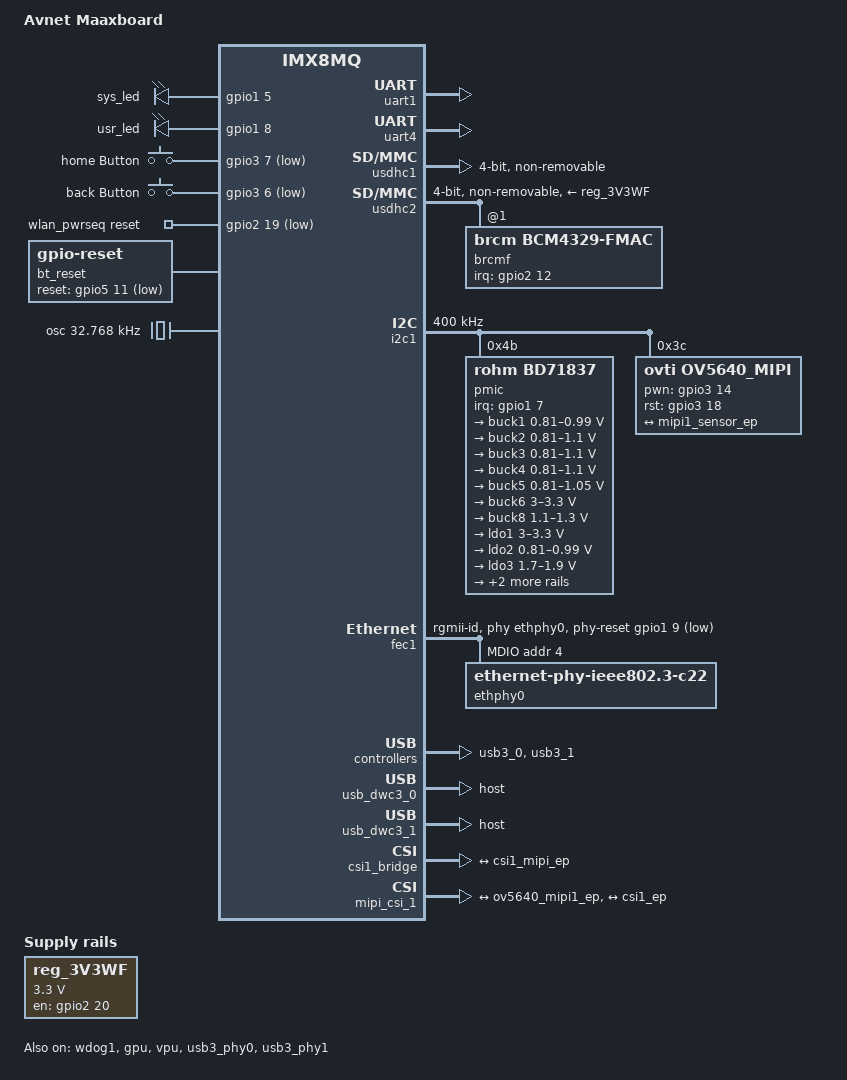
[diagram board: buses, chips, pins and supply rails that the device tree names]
/*
 * Copyright 2019 EMBEST
 *
 * This program is free software; you can redistribute it and/or
 * modify it under the terms of the GNU General Public License
 * as published by the Free Software Foundation; either version 2
 * of the License, or (at your option) any later version.
 *
 * This program is distributed in the hope that it will be useful,
 * but WITHOUT ANY WARRANTY; without even the implied warranty of
 * MERCHANTABILITY or FITNESS FOR A PARTICULAR PURPOSE.  See the
 * GNU General Public License for more details.
 */

/dts-v1/;

#include "fsl-imx8mq.dtsi"

/ {
	model = "Avnet Maaxboard";
	compatible = "avnet/embest,maaxboard", "fsl,imx8mq";

	chosen {
		bootargs = "console=ttymxc0,115200 earlycon=ec_imx6q,0x30860000,115200";
		stdout-path = &uart1;
	};

	leds {
		compatible = "gpio-leds";
		pinctrl-names = "default";
		pinctrl-0 = <&pinctrl_gpio_leds>;
		status = "okay";

		sys_led {
				label = "sys_led";
				gpios = <&gpio1 5 0>;
				default-state = "on";
				linux,default-trigger = "heartbeat";
		};

		usr_led {
				label = "usr_led";
				gpios = <&gpio1 8 0>;
				default-state = "on";
		};

	};

	gpio_keys {
			compatible = "gpio-keys";
			pinctrl-names = "default";
			pinctrl-0 = <&pinctrl_gpio_keys>;

			home {
					label = "home Button";
					gpios = <&gpio3 7 GPIO_ACTIVE_LOW>;
					linux,code = <102>;
					gpio-key,wakeup;
			};

			back {
					label = "back Button";
					gpios = <&gpio3 6 GPIO_ACTIVE_LOW>;
					linux,code = <412>;
			};
	};

    gpiomem {
			compatible = "maaxboard,maaxboard-gpiomem";
			status = "okay";
	};

	hdmi_audio: sound-hdmi {
		compatible = "fsl,imx8mq-evk-cdnhdmi",
				"fsl,imx-audio-cdnhdmi";
		model = "imx-audio-hdmi";
		audio-cpu = <&sai4>;
		protocol = <1>;
		status = "disabled";

		hdmi-out;
		constraint-rate = <44100>,
				<88200>,
				<176400>,
				<32000>,
				<48000>,
				<96000>,
				<192000>;

	};

	regulators {
		compatible = "simple-bus";
		#address-cells = <1>;
		#size-cells = <0>;

		reg_3V3WF: regulator@1 {
			compatible = "regulator-fixed";
			reg = <1>;
			pinctrl-names = "default";
			pinctrl-0 = <&pinctrl_reg3V3wf>;
			regulator-name = "WF_3V3";
			regulator-min-microvolt = <3300000>;
			regulator-max-microvolt = <3300000>;
			gpio = <&gpio2 20 0>;  /* WB_PWR_EN */
			regulator-always-on;
			enable-active-high;
		};
	};

	wlan_pwrseq: sdio-pwrseq {
		compatible = "mmc-pwrseq-simple";
		pinctrl-names = "default";
		pinctrl-0 = <&pinctrl_wlan>;
		reset-gpios = <&gpio2 19 GPIO_ACTIVE_LOW>;    /* WL_REG_ON */
	};

	bt_reset: bt_reset{
		compatible = "gpio-reset";
		reset-gpios = <&gpio5 11 GPIO_ACTIVE_LOW>;    /* BT_REG_ON */
		reset-delay-us = <1000>;
		reset-post-delay-ms = <40>;
		#reset-cells = <0>;
	};

	osc: oscillator {
			compatible = "fixed-clock";
			#clock-cells = <1>;
			clock-frequency  = <32768>;
			clock-output-names = "osc-pmic";
	};
};

&clk {
	assigned-clocks = <&clk IMX8MQ_AUDIO_PLL1>, <&clk IMX8MQ_AUDIO_PLL2>;
	assigned-clock-rates = <786432000>, <722534400>;
};

&iomuxc {
	imx8mq-evk {
		pinctrl_gpio_leds: gpio_ledsgrp {
			fsl,pins = <
				MX8MQ_IOMUXC_GPIO1_IO05_GPIO1_IO5           0x19
				MX8MQ_IOMUXC_GPIO1_IO08_GPIO1_IO8           0x19
			>;
		};

		pinctrl_gpio_keys: gpio_keysgrp {
			fsl,pins = <
				MX8MQ_IOMUXC_NAND_DATA01_GPIO3_IO7          0x56
				MX8MQ_IOMUXC_NAND_DATA00_GPIO3_IO6          0x56
			>;
		};

		pinctrl_uart1: uart1grp {
			fsl,pins = <
				MX8MQ_IOMUXC_UART1_RXD_UART1_DCE_RX         0x49
				MX8MQ_IOMUXC_UART1_TXD_UART1_DCE_TX         0x49
			>;
		};

		pinctrl_uart4: uart4grp {
			fsl,pins = <
				MX8MQ_IOMUXC_UART4_RXD_UART4_DCE_RX		0x49
				MX8MQ_IOMUXC_UART4_TXD_UART4_DCE_TX		0x49
				MX8MQ_IOMUXC_ECSPI2_SS0_UART4_DCE_RTS_B		0x49
				MX8MQ_IOMUXC_ECSPI2_MISO_UART4_DCE_CTS_B	0x49

				MX8MQ_IOMUXC_ECSPI2_MOSI_GPIO5_IO11		0x19
			>;
		};

		pinctrl_wlan: wlangrp {
			fsl,pins = <
				MX8MQ_IOMUXC_SD2_RESET_B_GPIO2_IO19		0x19  /* WL_REG_ON */
				MX8MQ_IOMUXC_SD2_CD_B_GPIO2_IO12		0x19  /* WL_HOST_WAKE irq */
				MX8MQ_IOMUXC_GPIO1_IO00_ANAMIX_REF_CLK_32K  0x05 /* 32K CLK IN */
			>;
		};
		pinctrl_reg3V3wf: reg3V3wfgrp {
			fsl,pins = <
				MX8MQ_IOMUXC_SD2_WP_GPIO2_IO20          0x19   /* WB_PWR_EN */
			>;
		};

		pinctrl_usdhc1: usdhc1grp {
			fsl,pins = <
				MX8MQ_IOMUXC_SD1_CLK_USDHC1_CLK			0x83
				MX8MQ_IOMUXC_SD1_CMD_USDHC1_CMD			0xc3
				MX8MQ_IOMUXC_SD1_DATA0_USDHC1_DATA0		0xc3
				MX8MQ_IOMUXC_SD1_DATA1_USDHC1_DATA1		0xc3
				MX8MQ_IOMUXC_SD1_DATA2_USDHC1_DATA2		0xc3
				MX8MQ_IOMUXC_SD1_DATA3_USDHC1_DATA3		0xc3
				MX8MQ_IOMUXC_GPIO1_IO06_GPIO1_IO6		0x19
			>;
		};

		pinctrl_usdhc1_100mhz: usdhc1grp100mhz {
			fsl,pins = <
				MX8MQ_IOMUXC_SD1_CLK_USDHC1_CLK			0x85
				MX8MQ_IOMUXC_SD1_CMD_USDHC1_CMD			0xc5
				MX8MQ_IOMUXC_SD1_DATA0_USDHC1_DATA0		0xc5
				MX8MQ_IOMUXC_SD1_DATA1_USDHC1_DATA1		0xc5
				MX8MQ_IOMUXC_SD1_DATA2_USDHC1_DATA2		0xc5
				MX8MQ_IOMUXC_SD1_DATA3_USDHC1_DATA3		0xc5
			>;
		};

		pinctrl_usdhc1_200mhz: usdhc1grp200mhz {
			fsl,pins = <
				MX8MQ_IOMUXC_SD1_CLK_USDHC1_CLK			0x87
				MX8MQ_IOMUXC_SD1_CMD_USDHC1_CMD			0xc7
				MX8MQ_IOMUXC_SD1_DATA0_USDHC1_DATA0		0xc7
				MX8MQ_IOMUXC_SD1_DATA1_USDHC1_DATA1		0xc7
				MX8MQ_IOMUXC_SD1_DATA2_USDHC1_DATA2		0xc7
				MX8MQ_IOMUXC_SD1_DATA3_USDHC1_DATA3		0xc7
			>;
		};

        pinctrl_usdhc2: usdhc2grp {
			fsl,pins = <
				MX8MQ_IOMUXC_SD2_CLK_USDHC2_CLK          0x83
				MX8MQ_IOMUXC_SD2_CMD_USDHC2_CMD          0xc3
				MX8MQ_IOMUXC_SD2_DATA0_USDHC2_DATA0      0xc3
				MX8MQ_IOMUXC_SD2_DATA1_USDHC2_DATA1      0xc3
				MX8MQ_IOMUXC_SD2_DATA2_USDHC2_DATA2      0xc3
				MX8MQ_IOMUXC_SD2_DATA3_USDHC2_DATA3      0xc3
			>;
		};

		pinctrl_i2c1: i2c1grp {
			fsl,pins = <
				MX8MQ_IOMUXC_I2C1_SCL_I2C1_SCL			0x4000007f
				MX8MQ_IOMUXC_I2C1_SDA_I2C1_SDA			0x4000007f
			>;
		};

		pinctrl_i2c4: i2c4grp {
			fsl,pins = <
				MX8MQ_IOMUXC_I2C4_SCL_I2C4_SCL			0x4000007f
				MX8MQ_IOMUXC_I2C4_SDA_I2C4_SDA			0x4000007f
			>;
		};

		pinctrl_csi1: csi1grp {
			fsl,pins = <
				MX8MQ_IOMUXC_NAND_WP_B_GPIO3_IO18		0x19
				MX8MQ_IOMUXC_NAND_DQS_GPIO3_IO14		0x19
			>;
		};

		pinctrl_pmic: pmicirq {
			fsl,pins = <
				MX8MQ_IOMUXC_GPIO1_IO07_GPIO1_IO7		0x19
			>;
		};

		pinctrl_wdog: wdoggrp {
			fsl,pins = <
				MX8MQ_IOMUXC_GPIO1_IO02_WDOG1_WDOG_B 0xc6
			>;
		};

		pinctrl_fec1: fec1grp {
			fsl,pins = <
				MX8MQ_IOMUXC_ENET_MDC_ENET1_MDC			0x3
				MX8MQ_IOMUXC_ENET_MDIO_ENET1_MDIO		0x23
				MX8MQ_IOMUXC_ENET_TD3_ENET1_RGMII_TD3	0x1f
				MX8MQ_IOMUXC_ENET_TD2_ENET1_RGMII_TD2	0x1f
				MX8MQ_IOMUXC_ENET_TD1_ENET1_RGMII_TD1	0x1f
				MX8MQ_IOMUXC_ENET_TD0_ENET1_RGMII_TD0	0x1f
				MX8MQ_IOMUXC_ENET_RD3_ENET1_RGMII_RD3	0x91
				MX8MQ_IOMUXC_ENET_RD2_ENET1_RGMII_RD2	0x91
				MX8MQ_IOMUXC_ENET_RD1_ENET1_RGMII_RD1	0x91
				MX8MQ_IOMUXC_ENET_RD0_ENET1_RGMII_RD0	0x91
				MX8MQ_IOMUXC_ENET_TXC_ENET1_RGMII_TXC	0x1f
				MX8MQ_IOMUXC_ENET_RXC_ENET1_RGMII_RXC	0x91
				MX8MQ_IOMUXC_ENET_RX_CTL_ENET1_RGMII_RX_CTL	0x91
				MX8MQ_IOMUXC_ENET_TX_CTL_ENET1_RGMII_TX_CTL	0x1f
				MX8MQ_IOMUXC_GPIO1_IO09_GPIO1_IO9		0x19
			>;
		};
	};
};

/* console */
&uart1 {
	pinctrl-names = "default";
	pinctrl-0 = <&pinctrl_uart1>;
	assigned-clocks = <&clk IMX8MQ_CLK_UART1>;
	assigned-clock-parents = <&clk IMX8MQ_CLK_25M>;
	status = "okay";
};

/* BT */
&uart4 {
	pinctrl-names = "default";
	pinctrl-0 = <&pinctrl_uart4>;
	assigned-clocks = <&clk IMX8MQ_CLK_UART4>;
	assigned-clock-parents = <&clk IMX8MQ_SYS1_PLL_80M>;
	fsl,uart-has-rtscts;
	resets = <&bt_reset>;
	status = "okay";
};

&usdhc1 {
	pinctrl-names = "default", "state_100mhz", "state_200mhz";
	pinctrl-0 = <&pinctrl_usdhc1>;
	non-removable;
	bus-width = <4>;
	status = "okay";
};

&usdhc2 {
	pinctrl-names = "default";
	pinctrl-0 = <&pinctrl_usdhc2>;
	bus-width = <4>;
	vmmc-supply = <&reg_3V3WF>;
	mmc-pwrseq = <&wlan_pwrseq>;
	no-1-8-v;
	non-removable;
	pm-ignore-notify;
	keep-power-in-suspend;
	status = "okay";

	#address-cells = <1>;
	#size-cells = <0>;
	brcmf: bcrmf@1 {
			reg = <1>;
			compatible = "brcm,bcm4329-fmac";
			interrupt-parent = <&gpio2>;
			interrupts = <12 IRQ_TYPE_LEVEL_LOW>;
			interrupt-names = "host-wake";
        };
};

&wdog1 {
	pinctrl-names = "default";
	pinctrl-0 = <&pinctrl_wdog>;
	fsl,ext-reset-output;
	status = "okay";
};

&A53_0 {
	operating-points = <
		/* kHz    uV */
		1500000 1000000
		1300000 1000000
		1000000 900000
		800000  900000
	>;
};

&gpu_pd {
	power-supply = <&buck3>;
};

&vpu_pd {
	power-supply = <&buck4>;
};

&gpu {
       status = "okay";
	   gpu-noc-priority = <0x80000600>;
};

&vpu {
	   /delete-property/ regulator-supply;
       status = "okay";
};

&i2c1 {
	clock-frequency = <400000>;
	pinctrl-names = "default";
	pinctrl-0 = <&pinctrl_i2c1>;
	status = "okay";

	pmic: pmic@4b {
			compatible = "rohm,bd71837";
			reg = <0x4b>;
			pinctrl-names = "default";
			pinctrl-0 = <&pinctrl_pmic>;
			interrupt-parent = <&gpio1>;
			interrupts = <7 IRQ_TYPE_LEVEL_LOW>;
			interrupt-names = "irq-pmic";
			#clock-cells = <0>;
			clocks = <&osc 0>;
			clock-output-names = "bd71837-32k-out";

			rohm,pmic-buck1-dvs-voltage = <900000>, <850000>, <800000>;
			rohm,pmic-buck2-dvs-voltage = <1000000>, <900000>;
			rohm,pmic-buck3-dvs-voltage = <1000000>;
			rohm,pmic-buck4-dvs-voltage = <1000000>;
			regulators {
					buck1: BUCK1 {
							regulator-name = "buck1";
							regulator-min-microvolt = <810000>;
							regulator-max-microvolt = <990000>;
							regulator-boot-on;
							regulator-always-on;
							regulator-ramp-delay = <1250>;
					};
					buck2: BUCK2 {
							regulator-name = "buck2";
							regulator-min-microvolt = <810000>;
							regulator-max-microvolt = <1100000>;
							regulator-boot-on;
							regulator-always-on;
							regulator-ramp-delay = <1250>;
					};
					buck3: BUCK3 {
							regulator-name = "buck3";
							regulator-min-microvolt = <810000>;
							regulator-max-microvolt = <1100000>;
							regulator-boot-on;
							regulator-enable-ramp-delay= <180>;
					};
					buck4: BUCK4 {
							regulator-name = "buck4";
							regulator-min-microvolt = <810000>;
							regulator-max-microvolt = <1100000>;
							regulator-boot-on;
							regulator-enable-ramp-delay= <180>;
					};
					buck5: BUCK5 {
							regulator-name = "buck5";
							regulator-min-microvolt = <810000>;
							regulator-max-microvolt = <1050000>;
							regulator-boot-on;
							regulator-always-on;
					};
					buck6: BUCK6 {
							regulator-name = "buck6";
							regulator-min-microvolt = <3000000>;
							regulator-max-microvolt = <3300000>;
							regulator-boot-on;
							regulator-always-on;
					};
					buck8: BUCK8 {
							regulator-name = "buck8";
							regulator-min-microvolt = <1100000>;
							regulator-max-microvolt = <1300000>;
							regulator-boot-on;
							regulator-always-on;
					};

					ldo1: LDO1 {
							regulator-name = "ldo1";
							regulator-min-microvolt = <3000000>;
							regulator-max-microvolt = <3300000>;
							regulator-boot-on;
							regulator-always-on;
					};
					ldo2: LDO2 {
							regulator-name = "ldo2";
							regulator-min-microvolt = <810000>;
							regulator-max-microvolt = <990000>;
							regulator-boot-on;
							regulator-always-on;
					};
					ldo3: LDO3 {
							regulator-name = "ldo3";
							regulator-min-microvolt = <1700000>;
							regulator-max-microvolt = <1900000>;
							regulator-boot-on;
							regulator-always-on;
					};
					ldo4: LDO4 {
							regulator-name = "ldo4";
							regulator-min-microvolt = <810000>;
							regulator-max-microvolt = <990000>;
							regulator-boot-on;
							regulator-always-on;
					};
					ldo7_reg: LDO7 {
							regulator-name = "ldo7";
							regulator-min-microvolt = <3000000>;
							regulator-max-microvolt = <3300000>;
							regulator-boot-on;
							regulator-always-on;
					};
			};
	};

	ov5640_mipi: ov5640_mipi@3c {
		compatible = "ovti,ov5640_mipi";
		reg = <0x3c>;
		status = "okay";
		pinctrl-names = "default";
		pinctrl-0 = <&pinctrl_csi1>;
		clocks = <&clk IMX8MQ_CLK_CLKO2>;
		clock-names = "csi_mclk";
		csi_id = <0>;
		pwn-gpios = <&gpio3 14 GPIO_ACTIVE_HIGH>;
		rst-gpios = <&gpio3 18 GPIO_ACTIVE_HIGH>;

		mclk = <24000000>;
		mclk_source = <0>;
		port {
			ov5640_mipi1_ep: endpoint {
				remote-endpoint = <&mipi1_sensor_ep>;
			};
		};
	};

};

&i2c4 {
	clock-frequency = <400000>;
	pinctrl-names = "default";
	pinctrl-0 = <&pinctrl_i2c4>;
	status = "disabled";
};

&fec1 {
	pinctrl-names = "default";
	pinctrl-0 = <&pinctrl_fec1>;
	phy-mode = "rgmii-id";
	phy-handle = <&ethphy0>;
	fsl,magic-packet;
	phy-reset-gpios = <&gpio1 9 GPIO_ACTIVE_LOW>;
	status = "okay";

	mdio {
		#address-cells = <1>;
		#size-cells = <0>;

		ethphy0: ethernet-phy@4 {
			compatible = "ethernet-phy-ieee802.3-c22";
			reg = <4>;
			at803x,led-act-blind-workaround;
			at803x,eee-disabled;
		};
	};
};

&usb3_phy0 {
       status = "okay";
};

&usb3_0 {
       status = "okay";
};

&usb_dwc3_0 {
	/delete-property/ power-domains;
	status = "okay";
	dr_mode = "host";
};

&usb3_phy1 {
	status = "okay";
};

&usb3_1 {
	status = "okay";
};

&usb_dwc3_1 {
	status = "okay";
	dr_mode = "host";
};

&sai4 {
	assigned-clocks = <&clk IMX8MQ_CLK_SAI4>;
	assigned-clock-parents = <&clk IMX8MQ_AUDIO_PLL1_OUT>;
	assigned-clock-rates = <24576000>;
	clocks = <&clk IMX8MQ_CLK_SAI4_IPG>, <&clk IMX8MQ_CLK_DUMMY>,
		<&clk IMX8MQ_CLK_SAI4_ROOT>, <&clk IMX8MQ_CLK_DUMMY>,
		<&clk IMX8MQ_CLK_DUMMY>, <&clk IMX8MQ_AUDIO_PLL1_OUT>,
		<&clk IMX8MQ_AUDIO_PLL2_OUT>;
	clock-names = "bus", "mclk0", "mclk1", "mclk2", "mclk3", "pll8k", "pll11k";
	status = "disabled";
};

&csi1_bridge {
	fsl,mipi-mode;
	fsl,two-8bit-sensor-mode;
	status = "okay";

	port {
		csi1_ep: endpoint {
			remote-endpoint = <&csi1_mipi_ep>;
		};
	};
};

&mipi_csi_1 {
	#address-cells = <1>;
	#size-cells = <0>;
	status = "okay";
	port {
		mipi1_sensor_ep: endpoint1 {
			remote-endpoint = <&ov5640_mipi1_ep>;
			data-lanes = <1 2>;
		};

		csi1_mipi_ep: endpoint2 {
			remote-endpoint = <&csi1_ep>;
		};
	};
};
